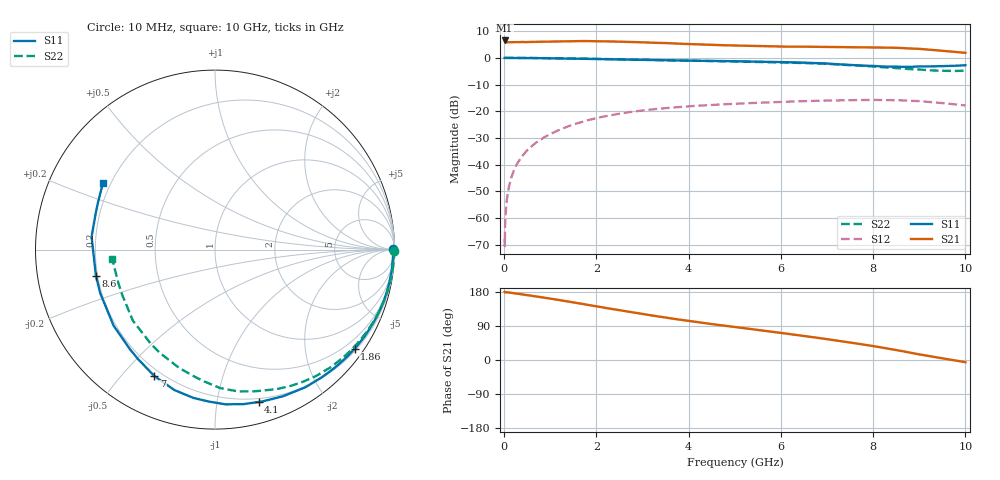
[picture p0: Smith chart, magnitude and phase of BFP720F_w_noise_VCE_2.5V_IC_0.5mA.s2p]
! Infineon Technologies  Discrete & RF Semiconductors
! BFP720F
! VCE =  2.5 V,  IC =  0.5 mA
! Common Emitter S-Parameters:  Jan 2016
# GHz  S  MA  R  50
!  f  S11  S21  S12  S22
! GHz  MAG  ANG  MAG  ANG  MAG  ANG  MAG  ANG
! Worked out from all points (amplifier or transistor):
!   233 points, 10 MHz to 10 GHz, reference 50 ohm
!   highest |S21| = 6.5 dB at 10 MHz (marker M1)
!   |S21| within 3 dB of that: start of sweep to 8.793 GHz
!   unconditionally stable (mu >= 1): nowhere
!   at 200 MHz: K = 0.00, MSG = 24.2 dB, |S12| = -42.6 dB
!   at 1.74 GHz: K = 0.12, MSG = 15.0 dB, |S12| = -23.7 dB
!   at 10 GHz: K = 0.81, MSG = 9.8 dB, |S12| = -17.8 dB
!   lowest NFmin = 0.54 dB at 450 MHz
!   S11 on the Smith chart (normalised r, x): 10 MHz: open; 1.86 GHz: 0.25, -3.11; 4.1 GHz: 0.17, -1.31; 7 GHz: 0.17, -0.62; 8.6 GHz: 0.19, -0.10; 10 GHz: 0.17, +0.27
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0.01  0.9931 0.1  2.112 179.8  0.0004 -35.2  1 -0.5
0.015  0.9931 -0.1  2.046 179.1  0.0003 53.9  1 -0.7
0.02  0.9932 -0.2  1.981 178.3  0.0007 88.7  1 -0.9
0.04  0.9936 -0.7  1.964 178.7  0.0015 91.3  0.9987 -0.8
0.085  0.9932 -1.6  1.955 178.4  0.0032 89.8  0.9986 -1.2
0.17  0.9923 -3.0  1.963 177.0  0.0063 87.9  0.9988 -2.4
0.32  0.9917 -5.8  1.965 174.4  0.0119 85.7  0.9962 -4.6
0.52  0.9892 -9.4  1.976 170.9  0.0194 82.5  0.995 -7.6
0.84  0.9842 -15.4  1.999 165.0  0.0315 77.4  0.9909 -12.3
1.68  0.9602 -31.8  2.059 148.3  0.0631 62.9  0.9677 -25.4
1.86  0.9539 -35.4  2.053 144.5  0.0696 59.5  0.9616 -28.3
2.62  0.9274 -50.0  1.996 128.8  0.0938 45.4  0.9337 -39.9
3.4  0.9021 -63.5  1.897 113.7  0.1126 32.2  0.9047 -50.1
4.1  0.8831 -74.0  1.793 101.4  0.1255 21.7  0.8813 -57.2
5.1  0.86 -87.3  1.689 85.6  0.1396 7.9  0.8489 -66.2
6.8  0.7921 -111.7  1.605 58.5  0.1573 -14.9  0.7823 -84.9
7  0.7815 -115.6  1.604 55.0  0.1593 -17.8  0.7724 -87.8
8  0.7061 -143.2  1.57 36.8  0.1634 -33.4  0.6888 -106.9
8.4  0.6841 -159.2  1.547 28.4  0.1621 -40.8  0.652 -118.3
8.6  0.6793 -167.7  1.527 24.1  0.1604 -44.5  0.634 -124.6
9  0.6912 174.1  1.471 14.8  0.1549 -52.7  0.6051 -139.1
10  0.726 149.4  1.24 -5.8  0.1285 -69.9  0.5749 -174.8
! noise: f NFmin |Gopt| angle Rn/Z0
0.45  0.54  0.9  6  0.96
0.9  0.77  0.88  13  1.01
2.4  1.03  0.86  32  0.7
5.5  1.54  0.73  97  0.46
